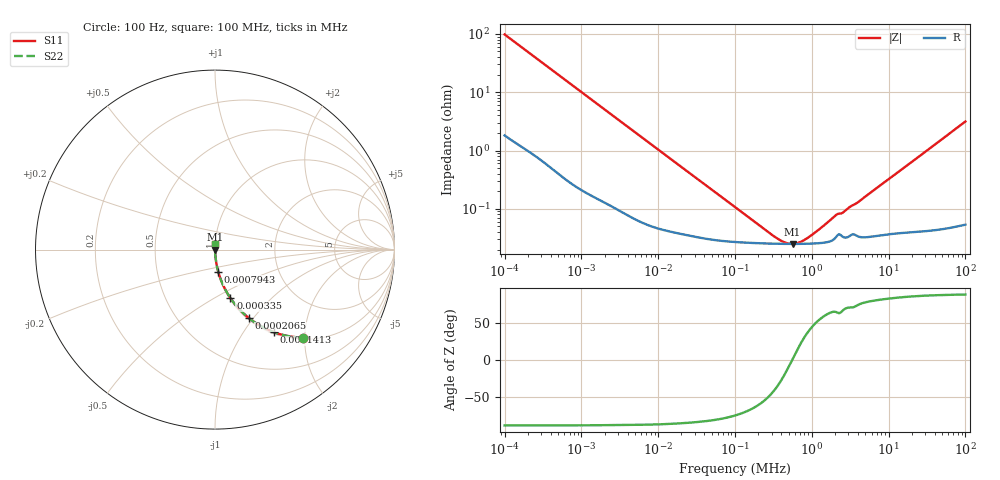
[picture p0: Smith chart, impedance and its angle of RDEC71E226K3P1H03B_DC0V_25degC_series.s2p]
!Murata Part Number: RDEC71E226K3P1H03B
!These Parameters are Measured in Series Mode Connection
!  o--ll--o
!Port1  Port2
!  o------o
!Operation Temp=25[degC], DC Bias Voltage=0[V]
!Freq. Start=100[Hz] Stop=100[MHz], 401[Steps]
!Data Generated on Sep 3, 2020
# Hz S RI R 50
!Freq.(Hz) S11(Real) S11(Imag) S21(Real) S21(Imag) S12(Real) S12(Imag) S22(Real) S22(Imag)
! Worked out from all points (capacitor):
!   401 points, 100 Hz to 100 MHz, reference 50 ohm
!   read as one part in series: C = 16.2 uF near 107.2 Hz
!   lowest |Z| = 25 mohm at 562.3 kHz (marker M1)
!   series resonance near 553.7 kHz, so ESL is about 5.1 nH
!   S11 on the Smith chart (normalised r, x): 100 Hz: 1.04, -1.96; 141.3 Hz: 1.03, -1.39; 206.5 Hz: 1.02, -0.96; 335 Hz: 1.01, -0.59; 794.3 Hz: 1.01, -0.25; 100 MHz: 1.00, +0.06
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100  0.4894 -0.4907  0.5106 0.4907  0.5106 0.4907  0.4894 -0.4907
141.2538  0.329 -0.4604  0.671 0.4604  0.671 0.4604  0.329 -0.4604
206.538  0.1907 -0.383  0.8093 0.383  0.8093 0.383  0.1907 -0.383
263.0268  0.1291 -0.3253  0.8709 0.3253  0.8709 0.3253  0.1291 -0.3253
334.9654  0.0855 -0.2696  0.9145 0.2696  0.9145 0.2696  0.0855 -0.2696
489.7788  0.0435 -0.1942  0.9565 0.1942  0.9565 0.1942  0.0435 -0.1942
794.3282  0.0181 -0.1237  0.9819 0.1237  0.9819 0.1237  0.0181 -0.1237
1011.579  0.0118 -0.098  0.9882 0.098  0.9882 0.098  0.0118 -0.098
2660.725  0.0025 -0.0381  0.9975 0.0381  0.9975 0.0381  0.0025 -0.0381
10232.93  0.000556 -0.0101  0.9994 0.0101  0.9994 0.0101  0.000556 -0.0101
100000  0.00027 -0.00104  0.9997 0.00104  0.9997 0.00104  0.00027 -0.00104
346736.9  0.000251 -0.000191  0.9997 0.000191  0.9997 0.000191  0.000251 -0.000191
457088.2  0.00025 -7.62e-05  0.9998 7.62e-05  0.9998 7.62e-05  0.00025 -7.62e-05
562341.3  0.00025 6.18e-06  0.9998 -6.18e-06  0.9998 -6.18e-06  0.00025 6.18e-06
716143.4  0.00025 0.000103  0.9997 -0.000103  0.9997 -0.000103  0.00025 0.000103
1011579  0.000253 0.000255  0.9997 -0.000255  0.9997 -0.000255  0.000253 0.000255
2018366  0.000315 0.000693  0.9997 -0.000693  0.9997 -0.000693  0.000315 0.000693
2570396  0.000328 0.000809  0.9997 -0.000809  0.9997 -0.000809  0.000328 0.000809
3162278  0.000347 0.00103  0.9997 -0.00103  0.9997 -0.00103  0.000347 0.00103
3890451  0.000343 0.00122  0.9997 -0.00122  0.9997 -0.00122  0.000343 0.00122
1.023293e7  0.000376 0.00327  0.9996 -0.00327  0.9996 -0.00327  0.000376 0.00327
1e8  0.00152 0.0314  0.9985 -0.0314  0.9985 -0.0314  0.00152 0.0314
